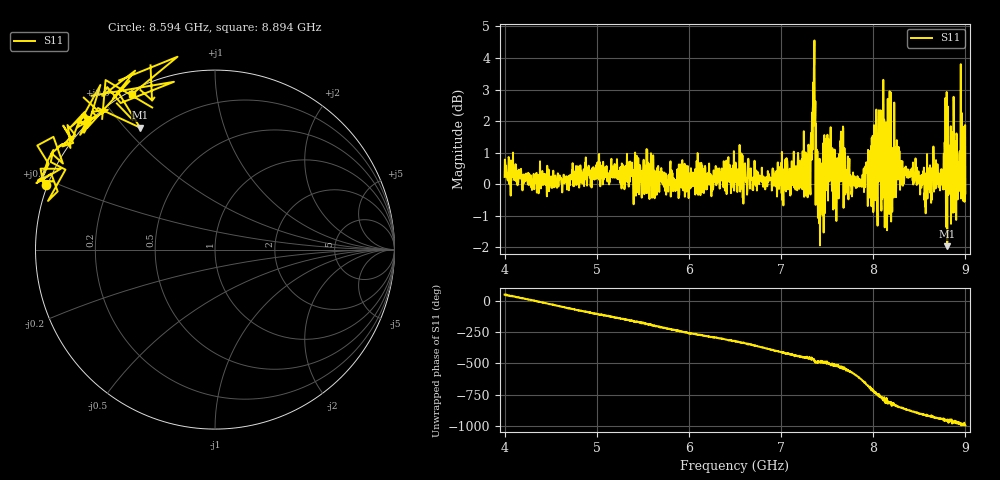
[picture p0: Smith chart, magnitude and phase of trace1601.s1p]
! Created with skrf 1.8.0 (http://scikit-rf.org).
# Hz S RI R 50.0
!freq ReS11 ImS11
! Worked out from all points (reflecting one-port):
!   1601 points, 4 GHz to 9 GHz, reference 50 ohm
!   lowest |S11| = -2.0 dB at 8.803 GHz (marker M1), VSWR 8.90, Z = 7.35 + j27.5 ohm
!   phase of S11 starts at 52 deg and turns -1049 deg over the sweep
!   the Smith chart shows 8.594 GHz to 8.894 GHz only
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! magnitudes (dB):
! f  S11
! 4 GHz  0.2
! 4.625 GHz  -0.3
! 5.25 GHz  0.3
! 5.875 GHz  0.2
! 6.5 GHz  0.1
! 7.125 GHz  0.0
! 7.294 GHz  0.0
! 7.328 GHz  1.0
! 7.347 GHz  2.5
! 7.369 GHz  2.1
! 7.4 GHz  -1.1
! 7.425 GHz  0.0
! 7.512 GHz  1.4
! 7.591 GHz  -0.2
! 7.666 GHz  1.7
! 7.75 GHz  0.0
! 7.981 GHz  -0.7
! 8.056 GHz  0.5
! 8.066 GHz  1.5
! 8.15 GHz  -1.5
! 8.162 GHz  0.7
! 8.216 GHz  1.2
! 8.375 GHz  0.5
! 8.578 GHz  0.1
! 8.803 GHz  -2.0
! 8.919 GHz  -0.4
! 8.972 GHz  0.4
! 9 GHz  -0.3
